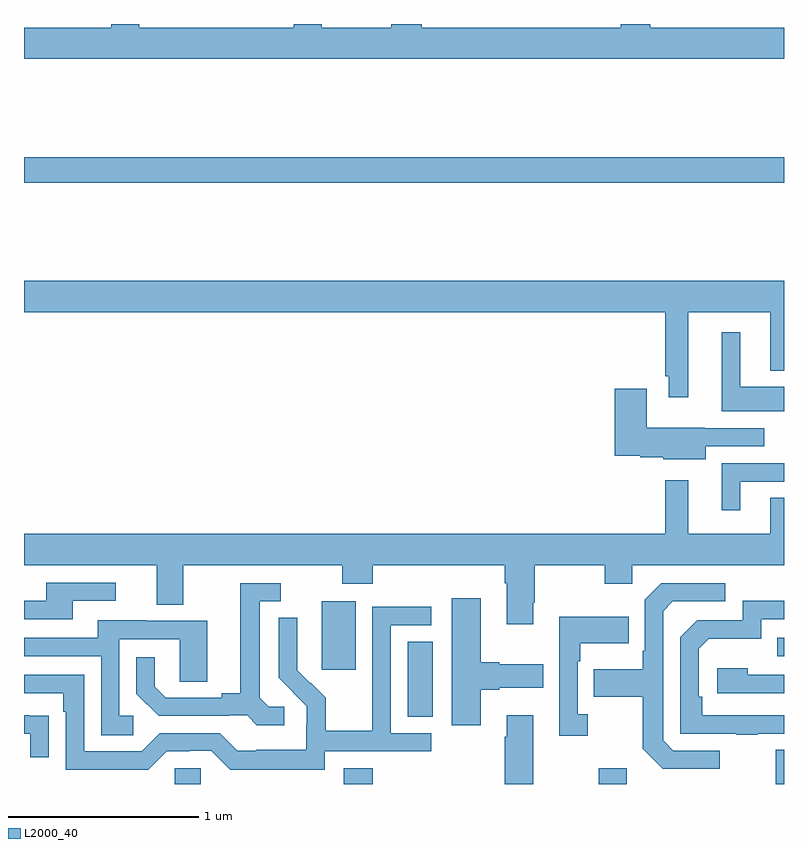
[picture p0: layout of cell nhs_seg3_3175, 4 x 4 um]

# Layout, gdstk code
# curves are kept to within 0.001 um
import gdstk
lib = gdstk.Library(unit=1e-6, precision=1e-09)
def R(c, l, rs):  # rectangles x0, y0, x1, y1
    for r in rs: c.add(gdstk.rectangle(r[:2], r[2:], *l))
def P(c, l, *ps):  # polygons
    for p in ps: c.add(gdstk.Polygon(p, *l))
L2000_40 = (2000, 40)

nhs_seg3_3175 = lib.new_cell('nhs_seg3_3175')
R(nhs_seg3_3175, L2000_40, [(275.793,730.4,275.931,730.482), (276.683,730.4,276.836,730.483), (278.026,730.4,278.173,730.483), (278.957,730.4,279,730.579), (277.019,730.753,277.15,731.15), (276.566,731.001,276.745,731.362), (278.965,731.073,279,731.169), (275,733.564,279,733.7)])
P(nhs_seg3_3175, L2000_40, [(279,734.38),(278.297,734.38),(278.297,734.4),(278.141,734.4),(278.141,734.38),(277.094,734.38),(277.094,734.4),(276.934,734.4),(276.934,734.38),(276.567,734.38),(276.567,734.4),(276.42,734.4),(276.42,734.38),(275.607,734.38),(275.607,734.4),(275.459,734.4),(275.459,734.38),(275,734.38),(275,734.216),(279,734.216)],
  [(278.497,732.884),(278.927,732.884),(278.927,732.575),(279,732.575),(279,733.048),(275,733.048),(275,732.884),(278.376,732.884),(278.376,732.547),(278.393,732.547),(278.393,732.435),(278.497,732.435)],
  [(279,732.49),(278.77,732.49),(278.77,732.778),(278.672,732.778),(278.672,732.362),(279,732.362)],
  [(278.587,732.177),(278.896,732.177),(278.896,732.273),(278.583,732.273),(278.583,732.274),(278.278,732.274),(278.278,732.481),(278.108,732.481),(278.108,732.128),(278.244,732.128),(278.244,732.121),(278.364,732.121),(278.364,732.11),(278.587,732.11)],
  [(278.77,731.991),(279,731.991),(279,732.087),(278.672,732.087),(278.672,731.841),(278.77,731.841)],
  [(277.681,731.353),(277.689,731.353),(277.689,731.552),(278.056,731.552),(278.056,731.453),(278.202,731.453),(278.202,731.552),(279,731.552),(279,731.906),(278.927,731.906),(278.927,731.716),(278.497,731.716),(278.497,731.998),(278.376,731.998),(278.376,731.716),(275,731.716),(275,731.552),(275.699,731.552),(275.699,731.344),(275.839,731.344),(275.839,731.552),(276.676,731.552),(276.676,731.453),(276.836,731.453),(276.836,731.552),(277.529,731.552),(277.529,731.456),(277.541,731.456),(277.541,731.241),(277.681,731.241)],
  [(275.257,731.364),(275.482,731.364),(275.482,731.46),(275.117,731.46),(275.117,731.364),(275,731.364),(275,731.268),(275.257,731.268)],
  [(278.662,730.575),(278.418,730.575),(278.364,730.629),(278.364,731.31),(278.415,731.361),(278.692,731.361),(278.692,731.457),(278.355,731.457),(278.268,731.37),(278.268,731.101),(278.256,731.101),(278.256,731.005),(277.999,731.005),(277.999,730.858),(278.256,730.858),(278.256,730.585),(278.361,730.479),(278.662,730.479)],
  [(276.37,730.806),(276.288,730.806),(276.241,730.853),(276.241,731.361),(276.352,731.361),(276.352,731.457),(276.137,731.457),(276.137,730.877),(276.041,730.877),(276.041,730.854),(275.746,730.854),(275.689,730.911),(275.689,731.068),(275.592,731.068),(275.592,730.874),(275.708,730.758),(276.08,730.758),(276.08,730.761),(276.174,730.761),(276.226,730.709),(276.37,730.709)],
  [(277.405,730.895),(277.501,730.895),(277.501,730.907),(277.732,730.907),(277.732,731.029),(277.501,731.029),(277.501,731.042),(277.405,731.042),(277.405,731.377),(277.25,731.377),(277.25,730.71),(277.405,730.71)],
  [(278.861,730.665),(279,730.665),(279,730.761),(278.57,730.761),(278.57,730.858),(278.55,730.858),(278.55,731.112),(278.603,731.165),(278.88,731.165),(278.88,731.268),(279,731.268),(279,731.364),(278.784,731.364),(278.784,731.262),(278.544,731.262),(278.454,731.172),(278.454,730.665),(278.749,730.665),(278.749,730.66),(278.861,730.66)],
  [(276.582,730.572),(277.144,730.572),(277.144,730.668),(276.93,730.668),(276.93,731.235),(277.144,731.235),(277.144,731.334),(276.834,731.334),(276.834,730.904),(276.832,730.904),(276.832,730.681),(276.587,730.681),(276.587,730.855),(276.51,730.932),(276.507,730.929),(276.437,731),(276.438,731.276),(276.342,731.276),(276.342,730.958),(276.488,730.81),(276.488,730.713),(276.486,730.713),(276.486,730.579),(276.223,730.579),(276.223,730.575),(276.123,730.575),(276.03,730.668),(275.715,730.668),(275.619,730.572),(275.316,730.572),(275.316,730.974),(275,730.974),(275,730.878),(275.207,730.878),(275.207,730.781),(275.22,730.781),(275.22,730.476),(275.655,730.476),(275.751,730.572),(275.87,730.572),(275.87,730.575),(275.985,730.575),(276.085,730.475),(276.582,730.475)],
  [(277.966,730.766),(277.914,730.766),(277.914,731.045),(277.927,731.045),(277.927,731.141),(278.183,731.141),(278.183,731.281),(277.818,731.281),(277.818,730.653),(277.966,730.653)],
  [(275.575,730.758),(275.502,730.758),(275.502,731.163),(275.82,731.163),(275.82,730.939),(275.965,730.939),(275.965,731.259),(275.641,731.259),(275.641,731.263),(275.387,731.263),(275.387,731.169),(275,731.169),(275,731.073),(275.406,731.073),(275.406,730.657),(275.575,730.657)],
  [(279,730.974),(278.81,730.974),(278.81,731.008),(278.649,731.008),(278.649,730.878),(279,730.878)],
  [(277.681,730.762),(277.541,730.762),(277.541,730.649),(277.529,730.649),(277.529,730.4),(277.681,730.4)],
  [(275.129,730.76),(275.027,730.76),(275.027,730.761),(275,730.761),(275,730.665),(275.033,730.665),(275.033,730.542),(275.129,730.542)])

lib.write_gds('nhs_seg3_3175.gds')
